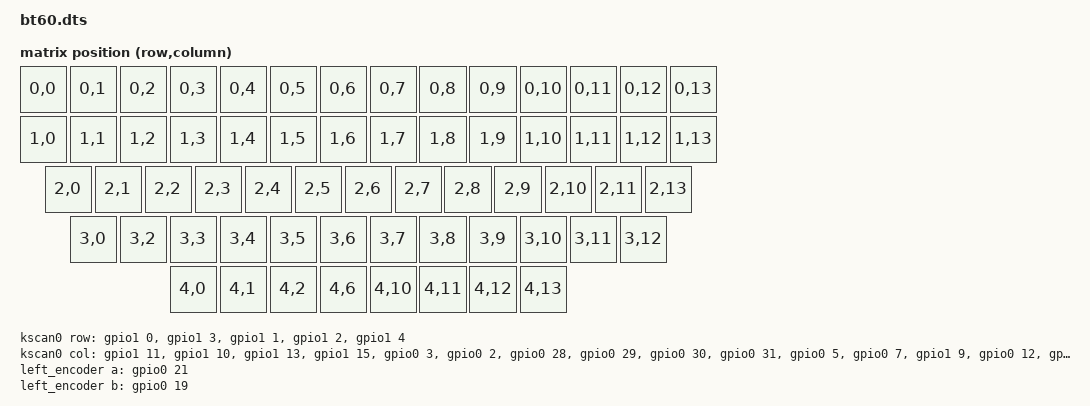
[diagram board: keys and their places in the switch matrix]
/*
* Copyright (c) 2021 Polarity Works
*
* SPDX-License-Identifier: MIT
*/

/dts-v1/;
#include "bt60.dtsi"


/ {
	chosen {
		zmk,underglow = &led_strip;
	};

	default_transform: keymap_transform_0 {
		compatible = "zmk,matrix-transform";
		columns = <15>;
		rows = <5>;
		map = <
			RC(0,0) RC(0,1) RC(0,2) RC(0,3) RC(0,4) RC(0,5) RC(0,6) RC(0,7) RC(0,8) RC(0,9) RC(0,10) RC(0,11) RC(0,12) 	 	RC(0,13)
			RC(1,0)   RC(1,1) RC(1,2) RC(1,3) RC(1,4) RC(1,5) RC(1,6) RC(1,7) RC(1,8) RC(1,9) RC(1,10) RC(1,11) RC(1,12)   RC(1,13)
			RC(2,0)     RC(2,1) RC(2,2) RC(2,3) RC(2,4) RC(2,5) RC(2,6) RC(2,7) RC(2,8) RC(2,9) RC(2,10) RC(2,11)          RC(2,13)
			RC(3,0)       RC(3,2) RC(3,3) RC(3,4) RC(3,5) RC(3,6) RC(3,7) RC(3,8) RC(3,9) RC(3,10)  RC(3,11)               RC(3,12)
			RC(4,0)   RC(4,1)   RC(4,2)                      RC(4,6)                     RC(4,10)   RC(4,11)    RC(4,12)     RC(4,13)
		>;
	};


	kscan0: kscan_0 {
		compatible = "zmk,kscan-gpio-matrix";
		label = "KSCAN";
		diode-direction = "col2row";

		col-gpios
			= <&gpio1 11 GPIO_ACTIVE_HIGH>
			, <&gpio1 10 GPIO_ACTIVE_HIGH>
			, <&gpio1 13 GPIO_ACTIVE_HIGH>
			, <&gpio1 15 GPIO_ACTIVE_HIGH>
			, <&gpio0 3 GPIO_ACTIVE_HIGH>
			, <&gpio0 2 GPIO_ACTIVE_HIGH>
			, <&gpio0 28 GPIO_ACTIVE_HIGH>
			, <&gpio0 29 GPIO_ACTIVE_HIGH>
			, <&gpio0 30 GPIO_ACTIVE_HIGH>
			, <&gpio0 31 GPIO_ACTIVE_HIGH>
			, <&gpio0 5 GPIO_ACTIVE_HIGH>
			, <&gpio0 7 GPIO_ACTIVE_HIGH>
			, <&gpio1 9 GPIO_ACTIVE_HIGH>
			, <&gpio0 12 GPIO_ACTIVE_HIGH>
			, <&gpio0 23 GPIO_ACTIVE_HIGH>
			;

		row-gpios
			= <&gpio1 0 (GPIO_ACTIVE_HIGH | GPIO_PULL_DOWN)>
			, <&gpio1 3 (GPIO_ACTIVE_HIGH | GPIO_PULL_DOWN)>
			, <&gpio1 1 (GPIO_ACTIVE_HIGH | GPIO_PULL_DOWN)>
			, <&gpio1 2 (GPIO_ACTIVE_HIGH | GPIO_PULL_DOWN)>
			, <&gpio1 4 (GPIO_ACTIVE_HIGH | GPIO_PULL_DOWN)>
			;
	};
	ext-power {
			compatible = "zmk,ext-power-generic";
			label = "EXT_POWER";
			control-gpios = <&gpio0 13 GPIO_ACTIVE_HIGH>;
		};
	left_encoder: encoder_left {
					a-gpios = <&gpio0 21 (GPIO_ACTIVE_HIGH | GPIO_PULL_UP)>;
					b-gpios = <&gpio0 19 (GPIO_ACTIVE_HIGH | GPIO_PULL_UP)>;
					};
};

&pwm0 {
	status = "okay";
	ch0-pin = <17>;
};

&spi1 {
	compatible = "nordic,nrf-spim";
	status = "okay";
	mosi-pin = <20>;
	// Unused pins, needed for SPI definition, but not used by the ws2812 driver itself.
	sck-pin = <27>;
	miso-pin = <8>;

	led_strip: ws2812@0 {
		compatible = "worldsemi,ws2812-spi";
		label = "WS2812";

		/* SPI */
		reg = <0>;
		spi-max-frequency = <4000000>;

		/* WS2812 */
		chain-length = <12>; /* number of LEDs */
		spi-one-frame = <0x70>;
		spi-zero-frame = <0x40>;
	};
};

/ {	ls_subs: led-strip-subsets {

		caps_lock: apa-led-strip-caps-lock {
			compatible = "zmk,apa-led-strip";
			points = [00 02 04];
			led-strip = <&led_strip>;
		};

		num_lock: apa-led-strip-lalt-num-lock {
			compatible = "zmk,apa-led-strip";
			points = [01 03 05 0A 0B];
			led-strip = <&led_strip>;
		};
	}; 
};
